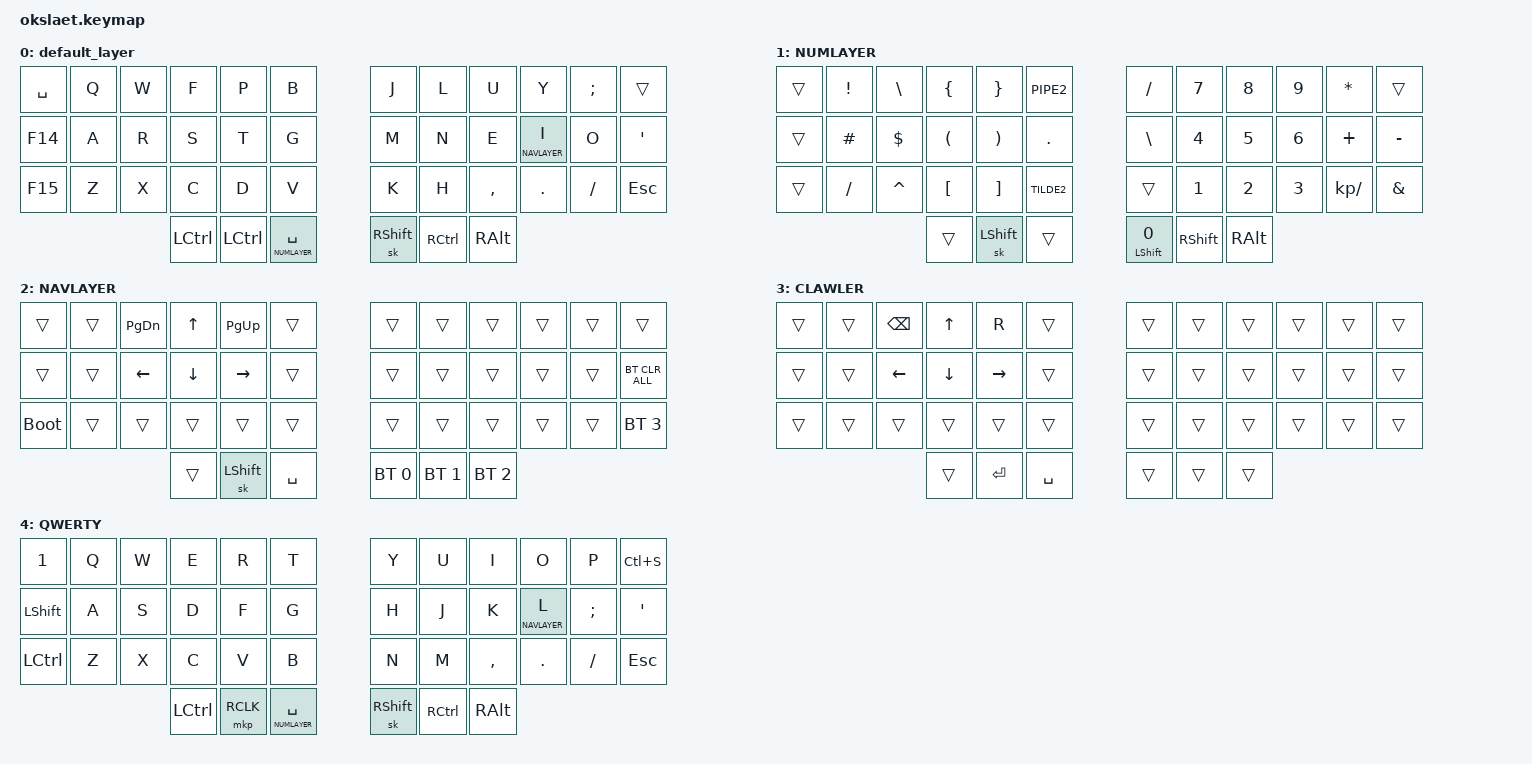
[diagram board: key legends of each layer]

#include <behaviors.dtsi>
#include <dt-bindings/zmk/keys.h>
#include <dt-bindings/zmk/bt.h>
#include <dt-bindings/zmk/mouse.h>
#define DEFAULT      0
#define NUMLAYER     1
#define NAVLAYER     2
#define CLAWLER      3
#define QWERTY       4

/*                                      42 KEY MATRIX / LAYOUT MAPPING

  ╭────────────────────────┬────────────────────────╮ ╭─────────────────────────┬─────────────────────────╮
  │  0   1   2   3   4   5 │  6   7   8   9  10  11 │ │ LT5 LT4 LT3 LT2 LT1 LT0 │ RT0 RT1 RT2 RT3 RT4 RT5 │
  │ 12  13  14  15 (16) 17 │ 18 (19) 20  21  22  23 │ │ LM5 LM4 LM3 LM2 LM1 LM0 │ RM0 RM1 RM2 RM3 RM4 RM5 │
  │ 24  25  26  27  28  29 │ 30  31  32  33  34  35 │ │ LB5 LB4 LB3 LB2 LB1 LB0 │ RB0 RB1 RB2 RB3 RB4 RB5 │
  ╰───────────╮ 36  37  38 │ 39  40  41 ╭───────────╯ ╰───────────╮ LH2 LH1 LH0 │ RH0 RH1 RH2 ╭───────────╯
              ╰────────────┴────────────╯                         ╰─────────────┴─────────────╯             */

/ {
     behaviors {
        nbspc: n_bspc {
            compatible = "zmk,behavior-mod-morph";
            #binding-cells = <0>;
            bindings = <&kp N>, <&kp BSPC>;
            mods = <(MOD_LCTL|MOD_RALT)>;
        };
    };
    
    combos {
        compatible = "zmk,combos";
        combo_esc {
            timeout-ms = <50>;
            key-positions = <0 1>;
            bindings = <&kp ESC>;
        };
        combo_ent {
            timeout-ms = <50>;
            key-positions = <31 32>;
            bindings = <&kp RET>;
        };
        combo_bspc {
            timeout-ms = <50>;
            key-positions = <19 20>;
            bindings = <&kp BSPC>;
        };
        combo_tab {
            timeout-ms = <50>;
            key-positions = <3 4>;
            bindings = <&kp TAB>;
        };
        combo_quote {
            timeout-ms = <50>;
            key-positions = <7 8>;
            bindings = <&kp SQT>;
        };
        combo_lclk {
            timeout-ms = <50>;
            key-positions = <15 16>;
            bindings = <&mkp LCLK>;
        };
        combo_rclk {
            timeout-ms = <50>;
            key-positions = <14 15>;
            bindings = <&mkp RCLK>;
        };
        combo_del {
            timeout-ms = <50>;
            key-positions = <27 28>;
            bindings = <&kp DEL>;
        };
        combo_clawler {
            timeout-ms = <50>;
            key-positions = <0 1 2>;
            bindings = <&tog CLAWLER>;
        };
        combo_lgui {
            timeout-ms = <50>;
            key-positions = <26 27>;
            bindings = <&kp LGUI>;
        };
        combo_equal {
            timeout-ms = <50>;
            key-positions = <2 3>;
            bindings = <&kp EQUAL>;
        };
        combo_fslh {
            timeout-ms = <50>;
            key-positions = <20 21>;
            bindings = <&kp FSLH>;
        };
    };
};

/ {
        keymap {
                compatible = "zmk,keymap";
                default_layer {

                        bindings = <
   &kp SPACE  &kp Q &kp W &kp F &kp P &kp B                         &kp J &kp L     &kp U     &kp Y               &kp SEMI     &trans
   &kp F14    &kp A &kp R &kp S &kp T &kp G                         &kp M &kp N     &kp E     &lt NAVLAYER I      &kp O        &kp SQT
   &kp F15    &kp Z &kp X &kp C &kp D &kp V                         &kp K &kp H     &kp COMMA &kp DOT             &kp FSLH     &kp ESC

               /**/  &kp LCTRL &kp LCTRL &lt NUMLAYER SPACE       /**/ &sk RSHIFT &kp RCTRL &kp RALT
                  
                        >;
                };
                NUMLAYER {

                        bindings = <
   &trans   &kp EXCL &kp BSLH   &kp LBRC &kp RBRC &kp PIPE2                 &kp FSLH    &kp N7  &kp N8     &kp N9   &kp ASTRK          &trans
   &trans   &kp HASH &kp DLLR   &kp LPAR &kp RPAR &kp DOT                   &kp BSLH    &kp N4  &kp N5     &kp N6   &kp PLUS           &kp MINUS
   &trans   &kp FSLH &kp CARET  &kp LBKT &kp RBKT &kp TILDE2                &trans      &kp N1  &kp N2     &kp N3   &kp KP_DIVIDE      &kp AMPS

                                        &trans &sk LSHIFT &trans           &mt LSHIFT NUMBER_0    &kp RSHIFT  &kp RALT
                  
                        >;
                };
                NAVLAYER {

                        bindings = <
   &trans       &trans  &kp PG_DN   &kp UP      &kp PG_UP   &trans              &trans &trans  &trans  &trans  &trans  &trans
   &trans       &trans  &kp LEFT    &kp DOWN    &kp RIGHT   &trans              &trans &trans  &trans  &trans  &trans  &bt BT_CLR_ALL
   &bootloader  &trans  &trans      &trans      &trans      &trans              &trans &trans  &trans  &trans  &trans  &bt BT_SEL 3

                                        &trans &sk LSHIFT &kp SPACE      &bt BT_SEL 0 &bt BT_SEL 1 &bt BT_SEL 2
                  
                        >;
                };
                CLAWLER {

                        bindings = <
   &trans   &trans &kp BSPC     &kp UP      &kp R               &trans      &trans   &trans     &trans    &trans   &trans     &trans 
   &trans   &trans &kp LEFT     &kp DOWN    &kp RIGHT           &trans      &trans   &trans     &trans    &trans   &trans     &trans 
   &trans   &trans &trans       &trans      &trans              &trans      &trans   &trans     &trans    &trans   &trans     &trans 

                   &trans &kp RET &kp SPACE                          &trans &trans &trans
                  
                        >;
                };
                QWERTY {

                        bindings = <
   &kp N1      &kp Q &kp W &kp E  &kp R &kp T         &kp Y &kp U  &kp I     &kp O               &kp P     &kp LC(S)
   &kp LSHIFT  &kp A &kp S &kp D  &kp F &kp G       &kp H &kp J  &kp K     &lt NAVLAYER L      &kp SEMI        &kp SQT
   &kp LCTRL   &kp Z &kp X &kp C  &kp V &kp B       &kp N &kp M  &kp COMMA &kp DOT             &kp FSLH     &kp ESC

                  &kp LCTRL &mkp RCLK &lt NUMLAYER SPACE   &sk RSHIFT &kp RCTRL &kp RALT
                  
                        >;
                };
        };
};
